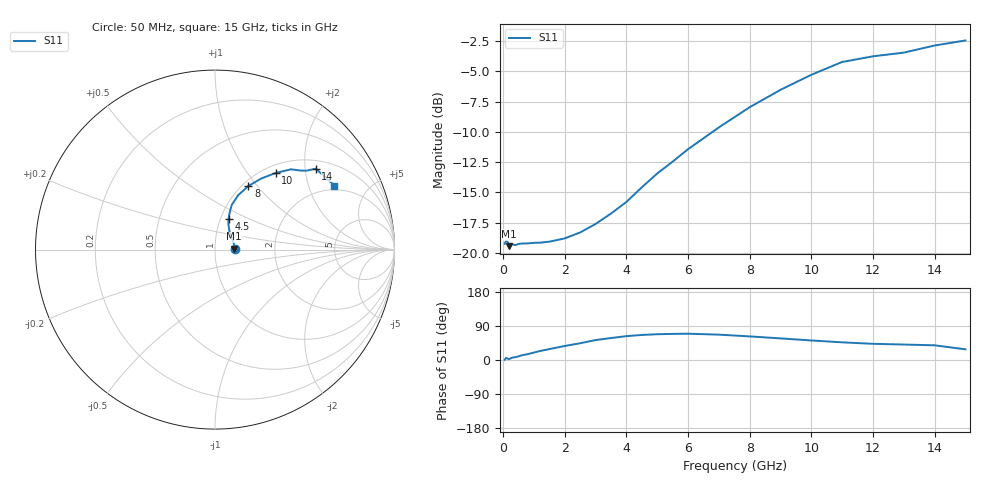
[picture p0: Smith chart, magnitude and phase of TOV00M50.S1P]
! SIEMENS Small Signal Semiconductors
! BAT15-03W
! Si Schottky Diode in SOD323
! IF = 0.5 mA
! S-Parameters:  May  1996
# GHz  S  MA  R  50
!  f  S11
! GHz  MAG  ANG
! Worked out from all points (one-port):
!   31 points, 50 MHz to 15 GHz, reference 50 ohm
!   lowest |S11| = -19.4 dB at 200 MHz (marker M1), VSWR 1.24, Z = 61.9 + j0.56 ohm
!   |S11| at or under -10 dB: start of sweep to 6.794 GHz
!   S11 on the Smith chart (normalised r, x): 50 MHz: 1.24, +0.00; 4.5 GHz: 1.09, +0.39; 8 GHz: 1.07, +0.90; 10 GHz: 1.13, +1.38; 14 GHz: 1.22, +2.28; 15 GHz: 1.80, +2.98
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0.05  0.109 0.4
0.1  0.1124 5.4
0.15  0.1109 3.4
0.2  0.1067 2.4
0.3  0.1086 6.4
0.4  0.1077 7.4
0.5  0.1089 9.6
0.6  0.1094 12.3
1.2  0.1103 23.8
1.5  0.1113 28.7
2  0.1148 37.0
2.5  0.1215 44.2
3  0.1317 52.6
3.5  0.1454 57.9
4  0.1624 62.9
4.5  0.1866 66.1
5  0.2129 68.0
5.5  0.2384 68.9
6  0.2683 69.4
7  0.33 66.9
8  0.4001 62.3
9  0.4721 57.0
10  0.5447 51.6
11  0.6155 46.6
12  0.6494 42.7
13  0.6727 40.8
14  0.7198 38.8
15  0.7553 28.2
